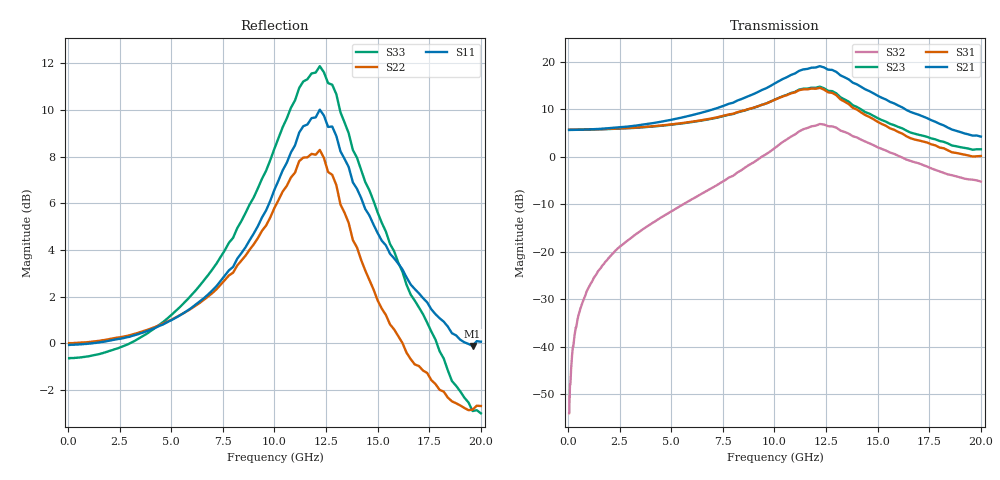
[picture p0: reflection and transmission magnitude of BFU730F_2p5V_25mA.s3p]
! Filename:  P:\Prog\Test\Noise\ATS_data\Testdata_Net\Split files Spar\BFU730_2W_B1_Bias9_2.5V_1mA_25mA_D.s2p
! Date/Time: Fri 29/Apr/2011 15:08:53
! BFU730_2W_B1_Bias9_2.5V_1mA_25mA_R.s2p
! MDIF S-parameter v. bias file
! BFU730_2W_B1_2.5V_1mA_25mA
! Date/time Thu Mar 17 13:38:09 2011
! VAR V_out= 2.5000
! VAR I_out= 24.9850
! VAR V_in= 0.8095
! VAR I_in= 0.0936
! Device data file deembeded for feedlines and parallel
! Original file: \Split files Spar\BFU730_2W_B1_Bias9_2.5V_1mA_25mA_R.s2p
! Feed-files: PR003V01_101208_Feed1.s2p, PR003V01_101208_Feed2.s2p
! Parallel-file: PR003V01_101208_Par.s2p
!3-port S-parameters
# GHz S MA R 50
!  Freq-GHz  S11-mag  S11-arg  S12-mag  S12-arg  S13-mag  S13-arg  S21-mag  S21-arg  S22-mag  S22-arg  S23-mag  S23-arg  S31-mag  S31-arg  S32-mag  S32-arg  S33-mag  S33-arg
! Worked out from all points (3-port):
!   165 points, 60 MHz to 20 GHz, reference 50 ohm
!   strongest paths, dB at 60 MHz, 1.35 GHz, 4.3 GHz, 11.8 GHz, 20 GHz:
!     S21: 5.7, 5.8, 7.2, 18.8, 4.3
!     S31: 5.7, 5.8, 6.5, 14.4, 0.2
!     S23: 5.7, 5.7, 6.4, 14.6, 1.6
!     S32: -54.0, -24.9, -13.4, 6.4, -5.2
!   lowest |S11| = -0.1 dB at 19.6 GHz (marker M1), VSWR 141.86, Z = 2.51 + j124 ohm
!   |S11| at or under -10 dB: nowhere
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0.06  0.991 -0.4  0.002 89.0  0.009 25.9
      1.919 179.6  1 -0.2  1.92 -0.3
      1.928 -0.2  0.002 78.1  0.928 179.6
7.6  1.396 -60.9  0.434 75.2  0.828 75.3
     3.479 119.5  1.365 -45.9  2.702 -49.2
     2.722 -41.6  0.565 96.1  1.582 128.1
10.2  2.234 -107.0  0.918 52.5  1.783 52.2
      6.222 83.1  2.027 -85.8  4.157 -88.5
      4.14 -77.4  1.326 77.2  2.754 94.1
11.2  2.829 -136.9  1.227 32.9  2.397 31.9
      8.032 58.2  2.456 -113.9  5.099 -116.0
      5.031 -103.4  1.851 58.5  3.526 70.1
12.4  3.077 171.4  1.369 -5.2  2.7 -7.2
      8.732 13.5  2.496 -164.6  5.267 -165.0
      5.1 -150.8  2.189 21.1  3.81 26.6
13.4  2.484 135.0  1.101 -30.1  2.17 -33.7
      6.87 -17.6  1.903 158.9  4.022 159.7
      3.804 175.1  1.828 -4.1  2.973 -3.7
14.2  2.049 114.0  0.884 -42.7  1.738 -47.0
      5.455 -34.2  1.509 136.8  3.154 139.8
      2.93 155.9  1.514 -16.6  2.352 -19.0
16.4  1.384 73.9  0.506 -58.2  0.966 -68.7
      3.108 -65.0  0.954 92.4  1.884 98.3
      1.642 115.1  0.934 -34.0  1.334 -46.3
19.6  0.986 44.0  0.326 -56.1  0.429 -75.2
      1.671 -87.3  0.72 59.7  1.187 62.0
      1.007 77.8  0.575 -37.6  0.715 -62.3
20  1.007 40.0  0.304 -57.6  0.396 -80.4
    1.632 -91.3  0.733 55.7  1.201 58.7
    1.02 74.8  0.549 -39.4  0.707 -64.1
